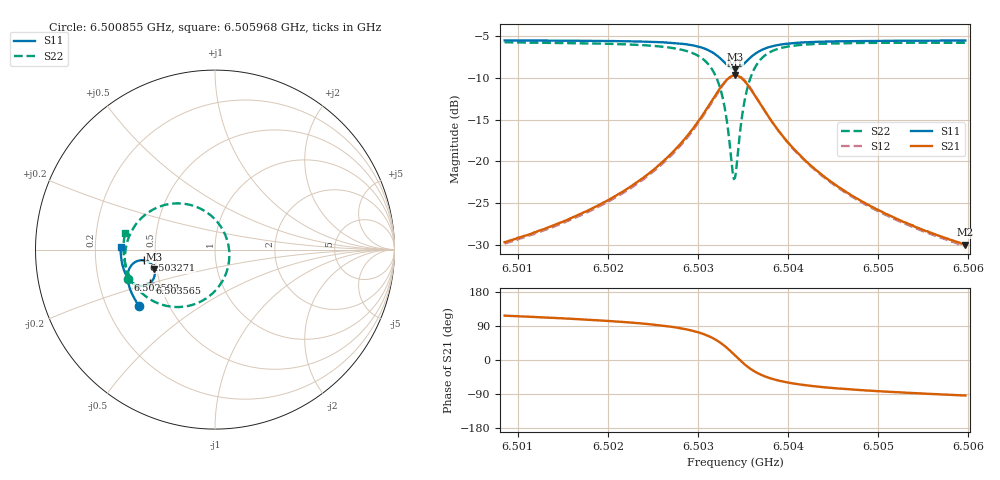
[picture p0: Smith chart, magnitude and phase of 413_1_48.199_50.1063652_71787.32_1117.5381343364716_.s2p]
#  HZ  S  RI  R  50.00
! Rohde & Schwarz Vector Network Analyzer
! Rohde-Schwarz,ZNB20-2Port,1311601062101988,3.16
! Created: UTC 3/20/2024, 11:54:36 AM
! freq[Hz]  re:S11  im:S11  re:S21  im:S21  re:S12  im:S12  re:S22  im:S22
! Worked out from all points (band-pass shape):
!   401 points, 6.500855 GHz to 6.505968 GHz, reference 50 ohm
!   highest |S21| = -9.74 dB at 6.503411 GHz (marker M1); lowest = -29.9 dB at 6.505968 GHz (marker M2)
!   |S21| within 3 dB of the highest: 6.503156 GHz to 6.503668 GHz (511.4 kHz wide, 0.00786 % of centre)
!   lowest |S11| = -9.0 dB at 6.503411 GHz (marker M3), VSWR 2.10, Z = 24.2 - j6.02 ohm
!   |S11| at or under -10 dB: nowhere
!   |S22| runs from -22.1 to -5.8 dB; largest |S21 - S12| = 0.011
!   S11 on the Smith chart (normalised r, x): 6.500855 GHz: 0.34, -0.30; 6.502593 GHz: 0.33, -0.15; 6.503271 GHz: 0.43, -0.06; 6.503565 GHz: 0.44, -0.20; 6.505968 GHz: 0.31, +0.01
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6.5008549e9  -0.4218 -0.3151  -0.015 0.0294  -0.0133 0.0294  -0.4868 -0.1635
6.5017113e9  -0.4594 -0.2526  -0.0145 0.0468  -0.0121 0.0465  -0.5015 -0.0738
6.5021587e9  -0.4754 -0.2137  -0.012 0.0646  -0.00893 0.0636  -0.4999 -0.012
6.5025677e9  -0.4858 -0.1694  -0.00313 0.095  0.000615 0.0928  -0.481 0.0672
6.5025933e9  -0.4861 -0.1662  -0.00189 0.0978  0.00178 0.0953  -0.4786 0.0733
6.5028362e9  -0.4849 -0.1306  0.0172 0.1317  0.0211 0.1278  -0.4384 0.144
6.5030151e9  -0.4723 -0.0969  0.0541 0.1684  0.0573 0.1628  -0.3663 0.2106
6.5031685e9  -0.4393 -0.0664  0.1274 0.1989  0.1285 0.1925  -0.2319 0.2566
6.5032708e9  -0.3967 -0.0595  0.2126 0.1904  0.2126 0.1851  -0.0842 0.2296
6.5033219e9  -0.3712 -0.0679  0.2607 0.1627  0.2614 0.1583  -0.00406 0.173
6.5033858e9  -0.3446 -0.0942  0.3084 0.0997  0.3108 0.095  0.0681 0.052
6.5034114e9  -0.3381 -0.1086  0.3186 0.0679  0.3217 0.0623  0.0794 -0.00741
6.503437e9  -0.3351 -0.1241  0.3226 0.0345  0.3259 0.0279  0.0778 -0.0682
6.5035009e9  -0.3419 -0.161  0.305 -0.0427  0.3071 -0.0524  0.0237 -0.2025
6.5035648e9  -0.363 -0.1867  0.2626 -0.0968  0.2617 -0.1077  -0.0716 -0.2853
6.503667e9  -0.4021 -0.202  0.1888 -0.1329  0.1836 -0.1423  -0.2201 -0.3199
6.5038332e9  -0.448 -0.1924  0.1077 -0.1304  0.1009 -0.1353  -0.3664 -0.2743
6.5040122e9  -0.4752 -0.1711  0.0635 -0.1106  0.0574 -0.1128  -0.438 -0.2099
6.5042678e9  -0.496 -0.1411  0.0338 -0.0865  0.0291 -0.0871  -0.4813 -0.1384
6.5046769e9  -0.5123 -0.099  0.0141 -0.0625  0.011 -0.0621  -0.5043 -0.0596
6.5051242e9  -0.521 -0.0579  0.00506 -0.0474  0.00274 -0.0466  -0.5098 0.00193
6.5059679e9  -0.5259 0.0132  -0.00203 -0.0318  -0.0033 -0.031  -0.5019 0.0902
